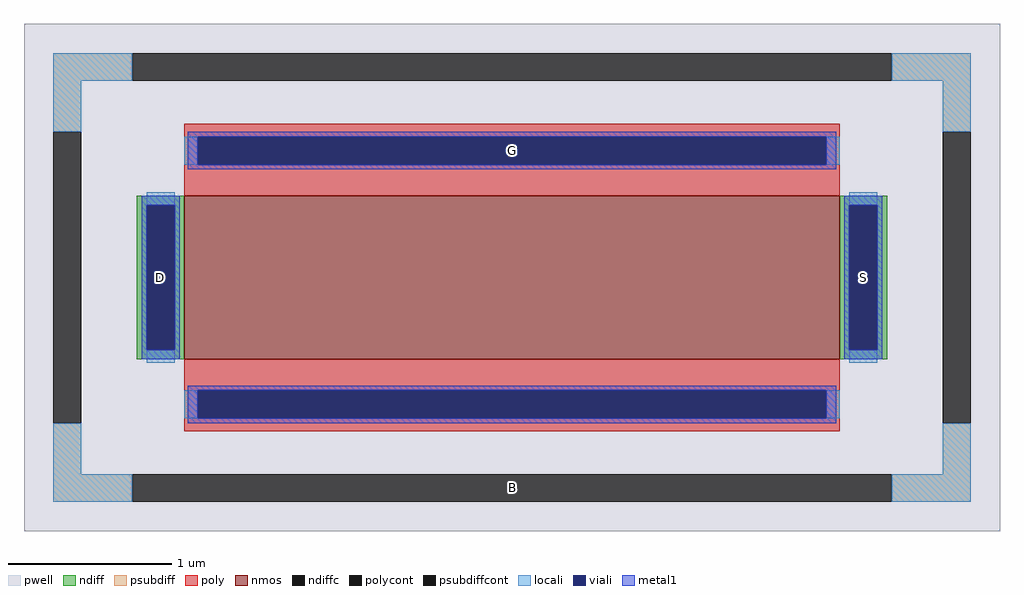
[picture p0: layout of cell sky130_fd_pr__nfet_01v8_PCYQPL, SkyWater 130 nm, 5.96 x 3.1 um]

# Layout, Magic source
magic
tech sky130A
magscale 1 2
<< pwell >>
rect -596 -310 596 310
<< nmos >>
rect -400 -100 400 100
<< ndiff >>
rect -458 88 -400 100
rect -458 -88 -446 88
rect -412 -88 -400 88
rect -458 -100 -400 -88
rect 400 88 458 100
rect 400 -88 412 88
rect 446 -88 458 88
rect 400 -100 458 -88
<< ndiffc >>
rect -446 -88 -412 88
rect 412 -88 446 88
<< psubdiff >>
rect -560 240 -464 274
rect 464 240 560 274
rect -560 178 -526 240
rect 526 178 560 240
rect -560 -240 -526 -178
rect 526 -240 560 -178
rect -560 -274 -464 -240
rect 464 -274 560 -240
<< psubdiffcont >>
rect -464 240 464 274
rect -560 -178 -526 178
rect 526 -178 560 178
rect -464 -274 464 -240
<< poly >>
rect -400 172 400 188
rect -400 138 -384 172
rect 384 138 400 172
rect -400 100 400 138
rect -400 -138 400 -100
rect -400 -172 -384 -138
rect 384 -172 400 -138
rect -400 -188 400 -172
<< polycont >>
rect -384 138 384 172
rect -384 -172 384 -138
<< locali >>
rect -560 240 -464 274
rect 464 240 560 274
rect -560 178 -526 240
rect 526 178 560 240
rect -400 138 -384 172
rect 384 138 400 172
rect -446 88 -412 104
rect -446 -104 -412 -88
rect 412 88 446 104
rect 412 -104 446 -88
rect -400 -172 -384 -138
rect 384 -172 400 -138
rect -560 -240 -526 -178
rect 526 -240 560 -178
rect -560 -274 -464 -240
rect 464 -274 560 -240
<< viali >>
rect -384 138 384 172
rect -446 -88 -412 88
rect 412 -88 446 88
rect -384 -172 384 -138
<< metal1 >>
rect -396 172 396 178
rect -396 138 -384 172
rect 384 138 396 172
rect -396 132 396 138
rect -452 88 -406 100
rect -452 -88 -446 88
rect -412 -88 -406 88
rect -452 -100 -406 -88
rect 406 88 452 100
rect 406 -88 412 88
rect 446 -88 452 88
rect 406 -100 452 -88
rect -396 -138 396 -132
rect -396 -172 -384 -138
rect 384 -172 396 -138
rect -396 -178 396 -172
<< labels >>
rlabel psubdiffcont 0 -257 0 -257 0 B
port 17 nsew
rlabel ndiffc -429 0 -429 0 0 D
port 18 nsew
rlabel ndiffc 429 0 429 0 0 S
port 19 nsew
rlabel polycont 0 155 0 155 0 G
port 20 nsew
<< properties >>
string FIXED_BBOX -543 -257 543 257
string gencell sky130_fd_pr__nfet_01v8
string library sky130
string parameters w 1.0 l 4.0 m 1 nf 1 diffcov 100 polycov 100 guard 1 glc 1 grc 1 gtc 1 gbc 1 tbcov 100 rlcov 100 topc 1 botc 1 poverlap 0 doverlap 1 lmin 0.15 wmin 0.42 class mosfet compatible {sky130_fd_pr__nfet_01v8 sky130_fd_pr__nfet_01v8_lvt  sky130_fd_bs_flash__special_sonosfet_star  sky130_fd_pr__nfet_g5v0d10v5 sky130_fd_pr__nfet_05v0_nvt  sky130_fd_pr__nfet_03v3_nvt} full_metal 1 conn_gates 0 viasrc 100 viadrn 100 viagate 100 viagb 0 viagr 0 viagl 0 viagt 0 doports 1
<< end >>
